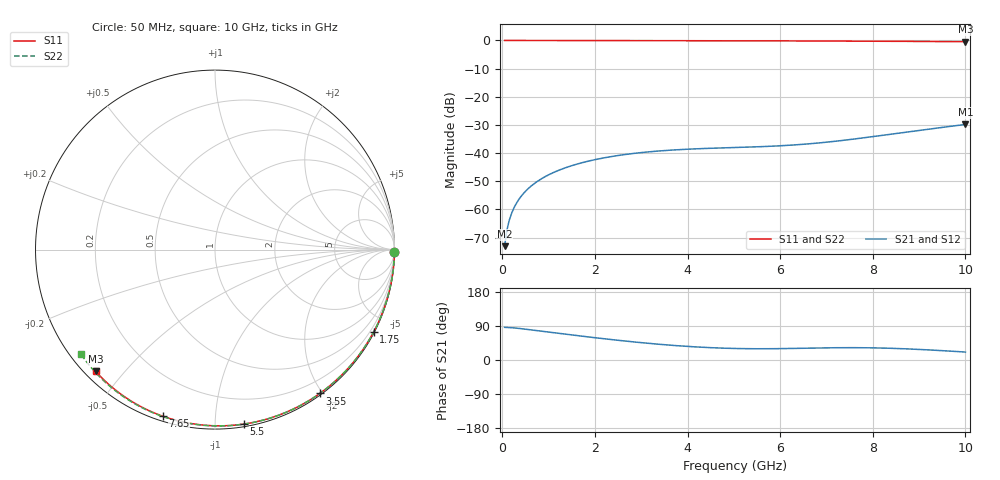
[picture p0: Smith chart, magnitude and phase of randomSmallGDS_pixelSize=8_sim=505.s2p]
! freq	dB(S11)	phase(S11)	dB(S12)	phase(S12)
!  dB(S21)	phase(S21)	dB(S22)	phase(S22)
!S-par simulation data
#  GHz  S  DB  R 50
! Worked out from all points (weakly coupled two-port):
!   200 points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, 50 MHz to 10 GHz, reference 50 ohm
!   highest |S21| = -29.84 dB at 10 GHz (marker M1); lowest = -73.1 dB at 50 MHz (marker M2)
!   lowest |S11| = -0.4 dB at 10 GHz (marker M3), VSWR 39.02, Z = 1.51 - j21 ohm
!   |S11| at or under -10 dB: nowhere
!   |S22| runs from -0.5 to 0.0 dB; largest |S21 - S12| = 0
!   S11 on the Smith chart (normalised r, x): 50 MHz: open; 1.75 GHz: 0.04, -4.12; 3.55 GHz: 0.02, -1.96; 5.5 GHz: 0.02, -1.18; 7.65 GHz: 0.02, -0.73; 10 GHz: 0.03, -0.42
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0.05  -0.00 -0.8  -73.05 86.2  -73.05 86.2  -0.00 -0.8
0.1  -0.00 -1.6  -67.31 85.9  -67.31 85.9  -0.00 -1.7
0.15  -0.00 -2.4  -63.89 85.7  -63.89 85.7  -0.00 -2.5
0.2  -0.00 -3.2  -61.44 85.3  -61.44 85.3  -0.00 -3.4
0.25  -0.00 -4.0  -59.53 84.8  -59.53 84.8  -0.00 -4.2
0.35  -0.00 -5.5  -56.64 83.5  -56.64 83.5  -0.00 -5.9
0.5  -0.01 -7.9  -53.58 81.3  -53.58 81.3  -0.01 -8.4
0.7  -0.01 -11.0  -50.71 78.3  -50.71 78.3  -0.01 -11.7
1  -0.02 -15.7  -47.72 73.7  -47.72 73.7  -0.02 -16.6
1.35  -0.03 -21.1  -45.29 68.4  -45.29 68.4  -0.03 -22.4
1.75  -0.03 -27.3  -43.30 62.4  -43.30 62.4  -0.04 -28.9
2.5  -0.05 -38.6  -40.85 52.0  -40.85 52.0  -0.05 -40.8
3.4  -0.07 -51.8  -39.23 41.4  -39.23 41.4  -0.07 -54.7
3.55  -0.07 -53.9  -39.05 39.8  -39.05 39.8  -0.08 -57.0
4.3  -0.09 -64.5  -38.40 33.7  -38.40 33.7  -0.10 -68.1
5.05  -0.11 -74.7  -38.01 30.3  -38.01 30.3  -0.12 -78.8
5.5  -0.13 -80.6  -37.77 29.7  -37.77 29.7  -0.14 -85.0
6.7  -0.18 -95.9  -36.60 31.5  -36.60 31.5  -0.19 -101.0
7.65  -0.24 -107.4  -34.90 32.5  -34.90 32.5  -0.25 -113.2
8.35  -0.29 -115.6  -33.38 31.0  -33.38 31.0  -0.31 -121.9
9.2  -0.36 -125.4  -31.51 26.7  -31.51 26.7  -0.38 -132.2
10  -0.45 -134.4  -29.84 20.9  -29.84 20.9  -0.47 -141.9
